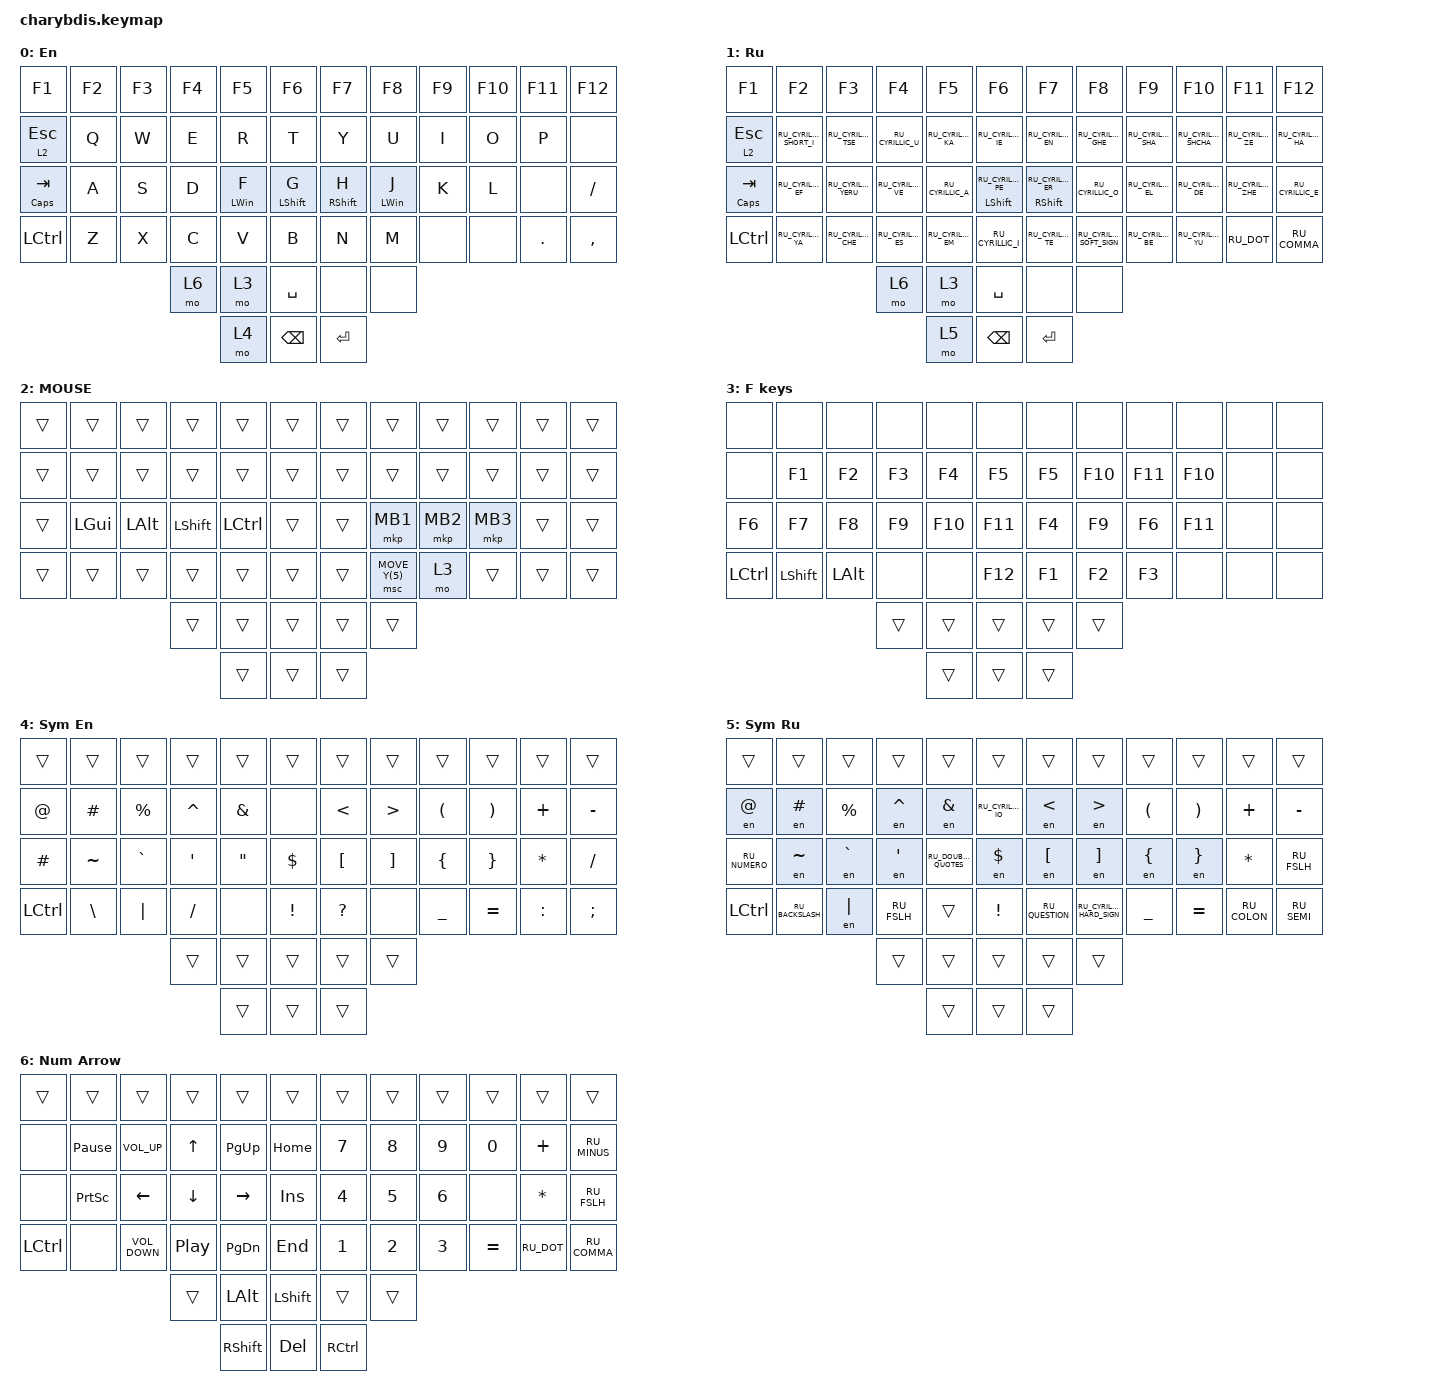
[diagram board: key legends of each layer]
#include "keys_ru.h"
#include <dt-bindings/zmk/input_transform.h>
#include <input/processors.dtsi>
#include <zephyr/dt-bindings/input/input-event-codes.h>
#include <behaviors.dtsi>
#include <dt-bindings/zmk/keys.h>
#include <dt-bindings/zmk/pointing.h>

#define EN 0
#define RU 1
#define MOU 2
#define FK 3
#define SYE 4
#define SYR 5
#define NUM 6

/ {
    behaviors {
        cap_sen: cap_sen {
            compatible = "zmk,behavior-hold-tap";
            label = "CAP_SEN";
            bindings = <&mo>, <&mkp>;

            #binding-cells = <2>;
            tapping-term-ms = <150>;
            hold-while-undecided;
        };

        hml: hml {
            compatible = "zmk,behavior-hold-tap";
            #binding-cells = <2>;
            flavor = "balanced";
            tapping-term-ms = <2000>;
            quick-tap-ms = <175>;
            require-prior-idle-ms = <250>;
            hold-trigger-key-positions = <6 7 8 9 10 11 18 19 20 21 22 23 30 31 32 33 34 35 42 43 44 45>;
            hold-trigger-on-release;
            bindings = <&kp>, <&kp>;
        };

        hmr: hmr {
            compatible = "zmk,behavior-hold-tap";
            #binding-cells = <2>;
            flavor = "balanced";
            tapping-term-ms = <2000>;
            quick-tap-ms = <175>;
            require-prior-idle-ms = <250>;
            hold-trigger-key-positions = <0 1 2 3 4 5 13 14 15 16 17 25 26 27 28 29 37 38 39 40 41>;
            hold-trigger-on-release;
            bindings = <&kp>, <&kp>;
        };

        hml_s: hml_s {
            compatible = "zmk,behavior-hold-tap";
            #binding-cells = <2>;
            flavor = "balanced";
            tapping-term-ms = <2000>;
            quick-tap-ms = <175>;
            require-prior-idle-ms = <0>;
            hold-trigger-key-positions = <18 19 20 21 22 23 30 31 32 33 34 35 42 43 44 45>;
            hold-trigger-on-release;
            bindings = <&kp>, <&kp>;
        };

        hmr_s: hmr_s {
            compatible = "zmk,behavior-hold-tap";
            #binding-cells = <2>;
            flavor = "balanced";
            tapping-term-ms = <2000>;
            quick-tap-ms = <175>;
            require-prior-idle-ms = <0>;
            hold-trigger-key-positions = <13 14 15 16 17 29 28 27 26 25 37 38 39 40 41>;
            hold-trigger-on-release;
            bindings = <&kp>, <&kp>;
        };
    };

    combos {
        compatible = "zmk,combos";

        cmben {
            bindings = <&layer_en>;
            key-positions = <17 16>;
            layers = <1>;
        };

        cmbru {
            bindings = <&layer_ru>;
            key-positions = <17 16>;
            layers = <0>;
        };

        LRPar {
            bindings = <&LR_Par>;
            key-positions = <19 20>;
            layers = <4 0 1 5>;
        };

        lr_brc {
            bindings = <&LR_brc>;
            key-positions = <31 32>;
            layers = <0 4>;
        };

        en_Lr_Brc {
            bindings = <&enBrct>;
            key-positions = <31 32>;
            layers = <1 5>;
        };

        lr_brs {
            bindings = <&LR_brs>;
            key-positions = <43 44>;
            layers = <0 4>;
        };

        en_lr_Brs {
            bindings = <&en_LR_brs>;
            key-positions = <43 44>;
            layers = <1 5>;
        };

        lr_uDQT {
            bindings = <&LR_ruDKT>;
            key-positions = <18 19>;
            layers = <0 4>;
        };

        lr_enDQT {
            bindings = <&LR_enDKT>;
            key-positions = <18 19>;
            layers = <1 5>;
        };

        boot_l {
            bindings = <&boot_lo>;
            key-positions = <12 23>;
            layers = <0 1>;
        };

        R_sh {
            bindings = <&kp RSHIFT>;
            key-positions = <30 31>;
            layers = <0 1>;
        };

        L_sh {
            bindings = <&kp LSHFT>;
            key-positions = <28 29>;
            layers = <0 1>;
        };

        pss {
            bindings = <&pss>;
            key-positions = <55 47>;
            layers = <0>;
        };

        unl_studio {
            bindings = <&studio_unlock>;
            key-positions = <0 4>;
        };

        Alt_Del {
            bindings = <&kp LA(DEL)>;
            key-positions = <46 47>;
        };
    };

    macros {
        to_ru: to_ru {
            compatible = "zmk,behavior-macro";
            #binding-cells = <0>;
            bindings = <&sk LS(LEFT_CONTROL)>, <&macro_wait_time 300>, <&kp N2>;

            label = "TO_RU";
            wait-ms = <20>;
            tap-ms = <60>;
        };

        to_en: to_en {
            compatible = "zmk,behavior-macro";
            #binding-cells = <0>;
            bindings = <&sk LS(LCTRL)>, <&macro_wait_time 300>, <&kp N1>;

            label = "TO_EN";
            wait-ms = <20>;
            tap-ms = <60>;
        };

        to_ru_fast: to_ru_fast {
            compatible = "zmk,behavior-macro";
            #binding-cells = <0>;
            bindings = <&sk LS(LC(N2))>;
            label = "TO_RU_FAST";
            wait-ms = <20>;
            tap-ms = <60>;
        };

        to_en_fast: to_en_fast {
            compatible = "zmk,behavior-macro";
            #binding-cells = <0>;
            bindings = <&sk LS(RC(N1))>;
            label = "TO_EN_FAST";
            wait-ms = <20>;
            tap-ms = <60>;
        };

        layer_en: layer_en {
            compatible = "zmk,behavior-macro";
            #binding-cells = <0>;
            bindings = <&to_en &to 0>;
            label = "LAYER_EN";
            wait-ms = <0>;
            tap-ms = <60>;
        };

        layer_ru: layer_ru {
            compatible = "zmk,behavior-macro";
            #binding-cells = <0>;
            bindings = <&to_ru &to 1>;
            label = "LAYER_RU";
            tap-ms = <60>;
            wait-ms = <0>;
        };

        en: en {
            compatible = "zmk,behavior-macro-one-param";
            #binding-cells = <1>;
            bindings =
                <&to_en_fast>,
                <&macro_wait_time 5>,
                <&macro_press>,
                <&macro_param_1to1 &kp MACRO_PLACEHOLDER>,
                <&macro_pause_for_release>,
                <&macro_release>,
                <&macro_param_1to1 &kp MACRO_PLACEHOLDER>,
                <&macro_tap>,
                <&to_ru_fast>;

            label = "EN";
            wait-ms = <0>;
            tap-ms = <30>;
        };

        LR_Par: LR_Par {
            compatible = "zmk,behavior-macro";
            #binding-cells = <0>;
            bindings = <&kp LPAR &kp RPAR &kp LEFT_ARROW>;
            label = "LR_PAR";
        };

        LR_brc: LR_brc {
            compatible = "zmk,behavior-macro";
            #binding-cells = <0>;
            bindings = <&kp LBKT &kp RBKT &kp LEFT_ARROW>;
            label = "LR_BRC";
        };

        enBrct: enBrct {
            compatible = "zmk,behavior-macro";
            #binding-cells = <0>;
            bindings = <&to_en_fast &kp LEFT_BRACKET &kp RIGHT_BRACKET &kp LEFT_ARROW &to_ru_fast>;
            label = "ENBRCT";
        };

        LR_brs: LR_brs {
            compatible = "zmk,behavior-macro";
            #binding-cells = <0>;
            bindings = <&kp LEFT_BRACE &kp RIGHT_BRACE &kp LEFT_ARROW>;
            label = "LR_BRS";
        };

        en_LR_brs: en_LR_brs {
            compatible = "zmk,behavior-macro";
            #binding-cells = <0>;
            bindings = <&to_en_fast &kp LEFT_BRACE &kp RIGHT_BRACE &kp LEFT_ARROW &to_ru_fast>;
            label = "EN_LR_BRS";
        };

        LR_ruDKT: LR_ruDKT {
            compatible = "zmk,behavior-macro";
            #binding-cells = <0>;
            bindings = <&kp RU_DOUBLE_QUOTES &kp RU_DOUBLE_QUOTES &kp LEFT_ARROW>;
            label = "LR_RUDKT";
        };

        LR_enDKT: LR_enDKT {
            compatible = "zmk,behavior-macro";
            #binding-cells = <0>;
            bindings = <&kp DQT &kp DQT &kp LEFT_ARROW>;
            label = "LR_ENDKT";
        };

        boot_lo: bootl {
            compatible = "zmk,behavior-macro";
            #binding-cells = <0>;
            bindings = <&bootloader>;
            label = "BOOTL";
        };

        to_Fkeys: to_Fkeys {
            compatible = "zmk,behavior-macro";
            #binding-cells = <0>;
            bindings = <&tog 2>;
            label = "TO_FKEYS";
        };

        pss: pss {
            compatible = "zmk,behavior-macro";
            #binding-cells = <0>;
            bindings = <&kp LS(R) &kp I &kp Y &kp N2 &kp N1 &kp N4 &kp LS(B) &kp L &kp A &kp U &kp N6 &kp N2 &kp LS(V) &kp V>;
            label = "PSS";
        };

        st_unlock: st_unlock {
            compatible = "zmk,behavior-macro";
            #binding-cells = <0>;
            bindings = <&studio_unlock>;
            label = "ST_UNLOCK";
        };
    };

    keymap {
        compatible = "zmk,keymap";

        en {
            label = "EN";
            display-name = "En";
            bindings = <
&kp F1            &kp F2  &kp F3  &kp F4  &kp F5       &kp F6           &kp F7         &kp F8       &kp F9  &kp F10  &kp F11  &kp F12
&lt 2 ESC         &kp Q   &kp W   &kp E   &kp R        &kp T            &kp Y          &kp U        &kp I   &kp O    &kp P    &none
&mt CAPSLOCK TAB  &kp A   &kp S   &kp D   &hml LWIN F  &hml LSHIFT G    &hmr RSHIFT H  &hmr LWIN J  &kp K   &kp L    &none    &kp SLASH
&kp LCTRL         &kp Z   &kp X   &kp C   &kp V        &kp B            &kp N          &kp M        &none   &none    &kp DOT  &kp COMMA
                                  &mo 6   &mo 3        &kp SPACE        &none          &none
                                          &mo 4        &kp BACKSPACE    &kp ENTER
            >;
        };

        ru {
            label = "RU";
            display-name = "Ru";
            bindings = <
&kp F1            &kp F2                   &kp F3                &kp F4              &kp F5              &kp F6                        &kp F7                      &kp F8                     &kp F9               &kp F10                &kp F11              &kp F12
&lt 2 ESC         &kp RU_CYRILLIC_SHORT_I  &kp RU_CYRILLIC_TSE   &kp RU_CYRILLIC_U   &kp RU_CYRILLIC_KA  &kp RU_CYRILLIC_IE            &kp RU_CYRILLIC_EN          &kp RU_CYRILLIC_GHE        &kp RU_CYRILLIC_SHA  &kp RU_CYRILLIC_SHCHA  &kp RU_CYRILLIC_ZE   &kp RU_CYRILLIC_HA
&mt CAPSLOCK TAB  &kp RU_CYRILLIC_EF       &kp RU_CYRILLIC_YERU  &kp RU_CYRILLIC_VE  &kp RU_CYRILLIC_A   &hml LSHIFT RU_CYRILLIC_PE    &hmr RSHIFT RU_CYRILLIC_ER  &kp RU_CYRILLIC_O          &kp RU_CYRILLIC_EL   &kp RU_CYRILLIC_DE     &kp RU_CYRILLIC_ZHE  &kp RU_CYRILLIC_E
&kp LCTRL         &kp RU_CYRILLIC_YA       &kp RU_CYRILLIC_CHE   &kp RU_CYRILLIC_ES  &kp RU_CYRILLIC_EM  &kp RU_CYRILLIC_I             &kp RU_CYRILLIC_TE          &kp RU_CYRILLIC_SOFT_SIGN  &kp RU_CYRILLIC_BE   &kp RU_CYRILLIC_YU     &kp RU_DOT           &kp RU_COMMA
                                                                 &mo 6               &mo 3               &kp SPACE                     &none                       &none
                                                                                     &mo 5               &kp BACKSPACE                 &kp ENTER
            >;
        };

        MOU {
            label = "MOU";
            display-name = "MOUSE";
            bindings = <
&trans  &trans    &trans    &trans     &trans     &trans    &trans  &trans          &trans    &trans    &trans  &trans
&trans  &trans    &trans    &trans     &trans     &trans    &trans  &trans          &trans    &trans    &trans  &trans
&trans  &kp LGUI  &kp LALT  &kp LSHFT  &kp LCTRL  &trans    &trans  &mkp MB1        &mkp MB2  &mkp MB3  &trans  &trans
&trans  &trans    &trans    &trans     &trans     &trans    &trans  &msc MOVE_Y(5)  &mo 3     &trans    &trans  &trans
                            &trans     &trans     &trans    &trans  &trans
                                       &trans     &trans    &trans
            >;
        };

        F_key {
            label = "FK";
            display-name = "F keys";
            bindings = <
&none      &none       &none     &none   &none    &none      &none   &none    &none    &none    &none  &none
&none      &kp F1      &kp F2    &kp F3  &kp F4   &kp F5     &kp F5  &kp F10  &kp F11  &kp F10  &none  &none
&kp F6     &kp F7      &kp F8    &kp F9  &kp F10  &kp F11    &kp F4  &kp F9   &kp F6   &kp F11  &none  &none
&kp LCTRL  &kp LSHIFT  &kp LALT  &none   &none    &kp F12    &kp F1  &kp F2   &kp F3   &none    &none  &none
                                 &trans  &trans   &trans     &trans  &trans
                                         &trans   &trans     &trans
            >;
        };

        sym_en {
            label = "SYE";
            display-name = "Sym En";
            bindings = <
&trans     &trans     &trans     &trans     &trans    &trans      &trans            &trans             &trans     &trans     &trans     &trans
&kp AT     &kp HASH   &kp PRCNT  &kp CARET  &kp AMPS  &none       &kp LT            &kp GT             &kp LPAR   &kp RPAR   &kp PLUS   &kp MINUS
&kp HASH   &kp TILDE  &kp GRAVE  &kp SQT    &kp DQT   &kp DLLR    &kp LEFT_BRACKET  &kp RIGHT_BRACKET  &kp LBRC   &kp RBRC   &kp ASTRK  &kp FSLH
&kp LCTRL  &kp BSLH   &kp PIPE   &kp FSLH   &none     &kp EXCL    &kp QUESTION      &none              &kp UNDER  &kp EQUAL  &kp COLON  &kp SEMICOLON
                                 &trans     &trans    &trans      &trans            &trans
                                            &trans    &trans      &trans
            >;
        };

        sym_ru {
            label = "SYR";
            display-name = "Sym Ru";
            bindings = <
&trans         &trans            &trans     &trans       &trans                &trans                &trans            &trans                     &trans     &trans     &trans        &trans
&en AT         &en HASH          &kp PRCNT  &en CARET    &en AMPS              &kp RU_CYRILLIC_IO    &en LT            &en GT                     &kp LPAR   &kp RPAR   &kp PLUS      &kp MINUS
&kp RU_NUMERO  &en TILDE         &en GRAVE  &en SQT      &kp RU_DOUBLE_QUOTES  &en DLLR              &en LEFT_BRACKET  &en RIGHT_BRACKET          &en LBRC   &en RBRC   &kp STAR      &kp RU_FSLH
&kp LCTRL      &kp RU_BACKSLASH  &en PIPE   &kp RU_FSLH  &trans                &kp EXCL              &kp RU_QUESTION   &kp RU_CYRILLIC_HARD_SIGN  &kp UNDER  &kp EQUAL  &kp RU_COLON  &kp RU_SEMI
                                            &trans       &trans                &trans                &trans            &trans
                                                         &trans                &trans                &trans
            >;
        };

        num_arrow {
            label = "NUM";
            display-name = "Num Arrow";
            bindings = <
&trans     &trans           &trans             &trans    &trans      &trans        &trans             &trans        &trans        &trans     &trans      &trans
&none      &kp PAUSE_BREAK  &kp C_VOLUME_UP    &kp UP    &kp PG_UP   &kp HOME      &kp N7             &kp NUMBER_8  &kp N9        &kp N0     &kp PLUS    &kp RU_MINUS
&none      &kp PRINTSCREEN  &kp LEFT           &kp DOWN  &kp RIGHT   &kp INS       &kp NUMBER_4       &kp N5        &kp NUMBER_6  &none      &kp STAR    &kp RU_FSLH
&kp LCTRL  &none            &kp C_VOLUME_DOWN  &kp C_PP  &kp PG_DN   &kp END       &kp N1             &kp N2        &kp N3        &kp EQUAL  &kp RU_DOT  &kp RU_COMMA
                                               &trans    &kp LALT    &kp LSHIFT    &trans             &trans
                                                         &kp RSHIFT  &kp DEL       &kp RIGHT_CONTROL
            >;
        };
    };
};
